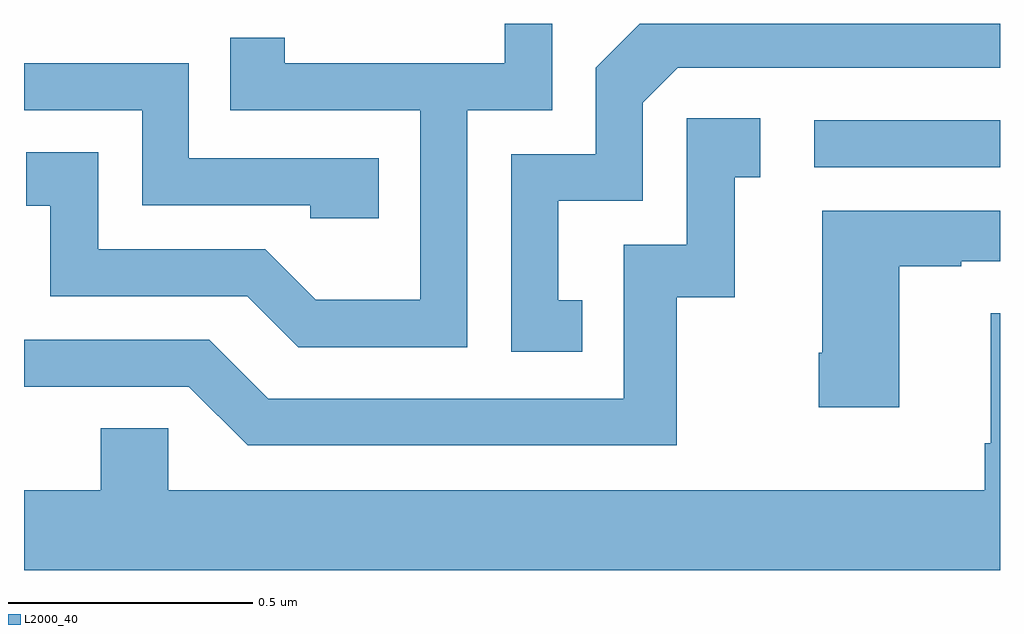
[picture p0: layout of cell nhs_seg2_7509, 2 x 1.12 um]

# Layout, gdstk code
import gdstk
lib = gdstk.Library(unit=1e-6, precision=1e-09)
def R(c, l, rs):  # rectangles x0, y0, x1, y1
    for r in rs: c.add(gdstk.rectangle(r[:2], r[2:], *l))
def P(c, l, *ps):  # polygons
    for p in ps: c.add(gdstk.Polygon(p, *l))
L2000_40 = (2000, 40)

nhs_seg2_7509 = lib.new_cell('nhs_seg2_7509')
R(nhs_seg2_7509, L2000_40, [(206.619,604.506,207,604.602)])
P(nhs_seg2_7509, L2000_40, [(205.908,604.623),(206.082,604.623),(206.082,604.8),(205.985,604.8),(205.985,604.719),(205.534,604.719),(205.534,604.771),(205.423,604.771),(205.423,604.623),(205.812,604.623),(205.812,604.234),(205.598,604.234),(205.494,604.338),(205.152,604.338),(205.152,604.537),(205.005,604.537),(205.005,604.427),(205.054,604.427),(205.054,604.242),(205.457,604.242),(205.562,604.137),(205.908,604.137)],
  [(206.144,604.233),(206.095,604.233),(206.095,604.437),(206.268,604.437),(206.268,604.638),(206.34,604.71),(207,604.71),(207,604.8),(206.262,604.8),(206.172,604.71),(206.172,604.533),(205.998,604.533),(205.998,604.128),(206.144,604.128)],
  [(205.727,604.524),(205.338,604.524),(205.338,604.719),(205,604.719),(205,604.623),(205.242,604.623),(205.242,604.428),(205.587,604.428),(205.587,604.401),(205.727,604.401)],
  [(206.338,604.239),(206.456,604.239),(206.456,604.485),(206.509,604.485),(206.509,604.606),(206.358,604.606),(206.358,604.347),(206.229,604.347),(206.229,604.032),(205.5,604.032),(205.38,604.152),(205,604.152),(205,604.056),(205.338,604.056),(205.458,603.936),(206.338,603.936)],
  [(206.794,604.303),(206.921,604.303),(206.921,604.313),(207,604.313),(207,604.417),(206.636,604.417),(206.636,604.126),(206.629,604.126),(206.629,604.014),(206.794,604.014)],
  [(207,604.207),(206.981,604.207),(206.981,603.94),(206.969,603.94),(206.969,603.844),(205.296,603.844),(205.296,603.971),(205.157,603.971),(205.157,603.844),(205,603.844),(205,603.68),(207,603.68)])

lib.write_gds('nhs_seg2_7509.gds')
